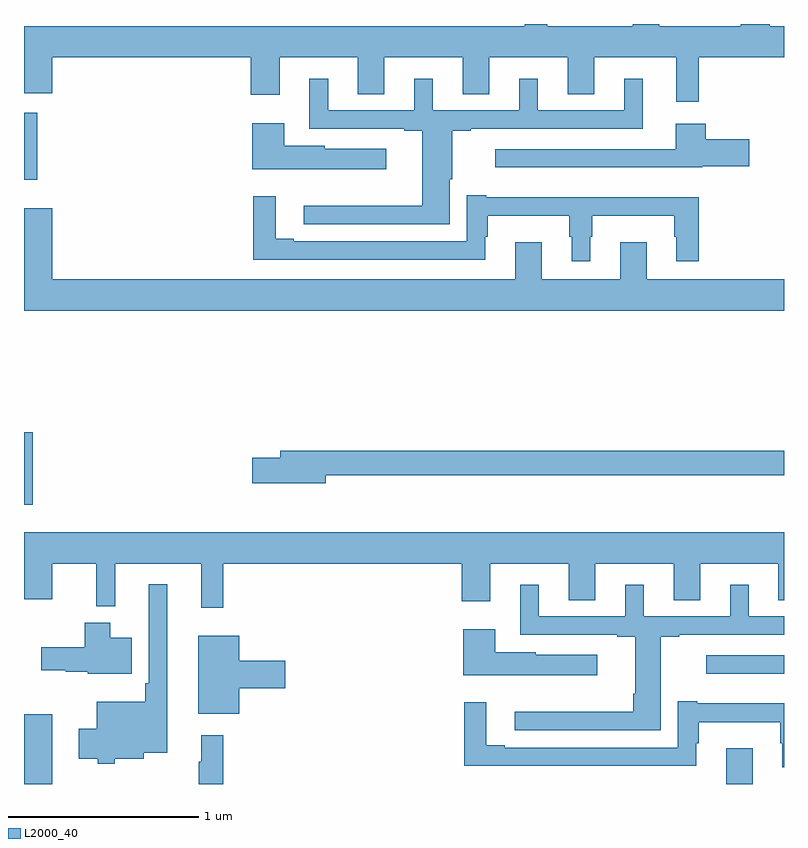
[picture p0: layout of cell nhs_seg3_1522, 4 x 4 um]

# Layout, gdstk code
import gdstk
lib = gdstk.Library(unit=1e-6, precision=1e-09)
def R(c, l, rs):  # rectangles x0, y0, x1, y1
    for r in rs: c.add(gdstk.rectangle(r[:2], r[2:], *l))
def P(c, l, *ps):  # polygons
    for p in ps: c.add(gdstk.Polygon(p, *l))
L2000_40 = (2000, 40)

nhs_seg3_1522 = lib.new_cell('nhs_seg3_1522')
R(nhs_seg3_1522, L2000_40, [(189,722.4,189.148,722.767), (192.695,722.4,192.835,722.587), (192.591,722.981,193,723.078), (189,723.87,189.047,724.251), (189,725.579,189.071,725.932)])
P(nhs_seg3_1522, L2000_40, [(189,726.036),(189.148,726.036),(189.148,726.224),(190.193,726.224),(190.193,726.027),(190.345,726.027),(190.345,726.224),(190.757,726.224),(190.757,726.031),(190.897,726.031),(190.897,726.224),(191.309,726.224),(191.309,726.031),(191.449,726.031),(191.449,726.224),(191.861,726.224),(191.861,726.031),(192.001,726.031),(192.001,726.224),(192.434,726.224),(192.434,725.991),(192.551,725.991),(192.551,726.224),(193,726.224),(193,726.388),(192.926,726.388),(192.926,726.4),(192.773,726.4),(192.773,726.388),(192.343,726.388),(192.343,726.4),(192.203,726.4),(192.203,726.388),(191.753,726.388),(191.753,726.4),(191.635,726.4),(191.635,726.388),(189,726.388)],
  [(191.242,725.583),(191.254,725.583),(191.254,725.838),(191.35,725.838),(191.35,725.85),(192.257,725.85),(192.257,726.112),(192.158,726.112),(192.158,725.946),(191.704,725.946),(191.704,726.112),(191.606,726.112),(191.606,725.946),(191.152,725.946),(191.152,726.112),(191.054,726.112),(191.054,725.946),(190.6,725.946),(190.6,726.112),(190.502,726.112),(190.502,725.85),(191,725.85),(191,725.838),(191.096,725.838),(191.096,725.444),(190.473,725.444),(190.473,725.346),(191.242,725.346)],
  [(190.906,725.743),(190.584,725.743),(190.584,725.758),(190.369,725.758),(190.369,725.878),(190.202,725.878),(190.202,725.636),(190.906,725.636)],
  [(192.57,725.651),(192.817,725.651),(192.817,725.793),(192.587,725.793),(192.587,725.875),(192.431,725.875),(192.431,725.742),(191.481,725.742),(191.481,725.645),(192.57,725.645)],
  [(191.98,725.279),(191.992,725.279),(191.992,725.39),(192.423,725.39),(192.423,725.279),(192.434,725.279),(192.434,725.151),(192.551,725.151),(192.551,725.488),(191.434,725.488),(191.434,725.5),(191.331,725.5),(191.331,725.256),(190.42,725.256),(190.42,725.269),(190.324,725.269),(190.324,725.494),(190.207,725.494),(190.207,725.16),(191.428,725.16),(191.428,725.279),(191.44,725.279),(191.44,725.39),(191.871,725.39),(191.871,725.279),(191.882,725.279),(191.882,725.151),(191.98,725.151)],
  [(193,725.056),(192.277,725.056),(192.277,725.251),(192.137,725.251),(192.137,725.056),(191.725,725.056),(191.725,725.251),(191.585,725.251),(191.585,725.056),(189.148,725.056),(189.148,725.431),(189,725.431),(189,724.892),(193,724.892)],
  [(190.588,724.026),(193,724.026),(193,724.154),(190.349,724.154),(190.349,724.118),(190.2,724.118),(190.2,723.983),(190.588,723.983)],
  [(190.049,723.56),(191.303,723.56),(191.303,723.363),(191.455,723.363),(191.455,723.56),(191.867,723.56),(191.867,723.367),(192.007,723.367),(192.007,723.56),(192.419,723.56),(192.419,723.367),(192.559,723.367),(192.559,723.56),(192.971,723.56),(192.971,723.367),(193,723.367),(193,723.724),(189,723.724),(189,723.372),(189.148,723.372),(189.148,723.56),(189.379,723.56),(189.379,723.335),(189.479,723.335),(189.479,723.56),(189.932,723.56),(189.932,723.327),(190.049,723.327)],
  [(189.477,722.534),(189.631,722.534),(189.631,722.564),(189.754,722.564),(189.754,723.451),(189.657,723.451),(189.657,722.929),(189.637,722.929),(189.637,722.833),(189.383,722.833),(189.383,722.692),(189.287,722.692),(189.287,722.534),(189.387,722.534),(189.387,722.507),(189.477,722.507)],
  [(192.352,723.174),(192.448,723.174),(192.448,723.186),(193,723.186),(193,723.282),(192.814,723.282),(192.814,723.448),(192.716,723.448),(192.716,723.282),(192.262,723.282),(192.262,723.448),(192.164,723.448),(192.164,723.282),(191.71,723.282),(191.71,723.448),(191.612,723.448),(191.612,723.186),(192.122,723.186),(192.122,723.174),(192.218,723.174),(192.218,722.875),(192.206,722.875),(192.206,722.78),(191.583,722.78),(191.583,722.682),(192.352,722.682)],
  [(189.568,723.169),(189.454,723.169),(189.454,723.25),(189.32,723.25),(189.32,723.121),(189.09,723.121),(189.09,722.999),(189.219,722.999),(189.219,722.992),(189.336,722.992),(189.336,722.981),(189.568,722.981)],
  [(192.016,723.079),(191.694,723.079),(191.694,723.094),(191.479,723.094),(191.479,723.214),(191.312,723.214),(191.312,722.972),(192.016,722.972)],
  [(190.132,722.903),(190.375,722.903),(190.375,723.05),(190.132,723.05),(190.132,723.181),(189.917,723.181),(189.917,722.771),(190.132,722.771)],
  [(193,722.824),(192.544,722.824),(192.544,722.836),(192.441,722.836),(192.441,722.592),(191.53,722.592),(191.53,722.605),(191.434,722.605),(191.434,722.83),(191.317,722.83),(191.317,722.496),(192.538,722.496),(192.538,722.615),(192.55,722.615),(192.55,722.726),(192.981,722.726),(192.981,722.615),(192.992,722.615),(192.992,722.487),(193,722.487)],
  [(190.049,722.656),(189.932,722.656),(189.932,722.516),(189.921,722.516),(189.921,722.4),(190.049,722.4)])

lib.write_gds('nhs_seg3_1522.gds')
